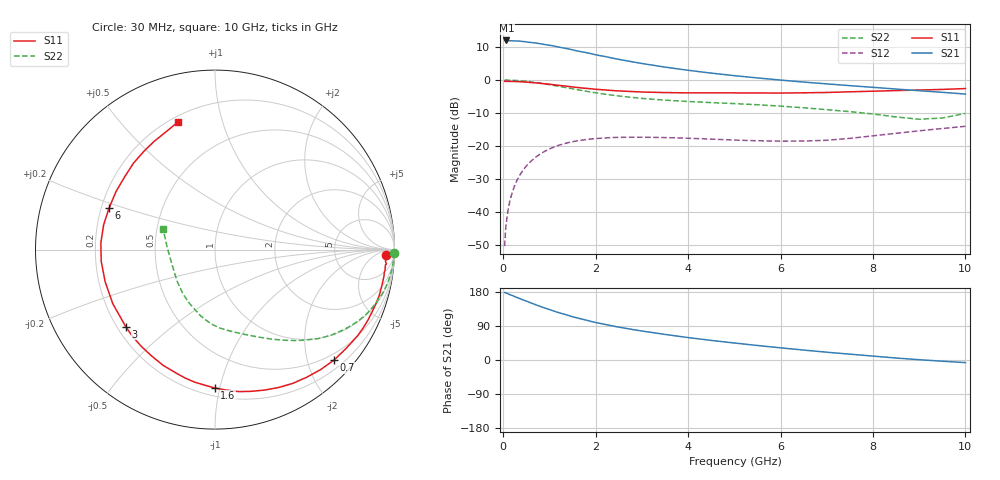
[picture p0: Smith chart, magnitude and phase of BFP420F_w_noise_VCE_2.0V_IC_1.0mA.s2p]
! Infineon Technologies  Discrete & RF Semiconductors
! BFP420F
! VCE =  2.0 V,  IC =  1.0 mA
! Common Emitter S-Parameters:  Sep 2011
# GHz  S  MA  R  50
!  f  S11  S21  S12  S22
! GHz  MAG  ANG  MAG  ANG  MAG  ANG  MAG  ANG
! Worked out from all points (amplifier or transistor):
!   54 points, 30 MHz to 10 GHz, reference 50 ohm
!   highest |S21| = 12.0 dB at 70 MHz (marker M1)
!   |S21| within 3 dB of that: start of sweep to 1.546 GHz
!   unconditionally stable (mu >= 1): 3.578 GHz to end of sweep
!   at 120 MHz: K = 0.00, MSG = 25.1 dB, |S12| = -38.3 dB
!   at 1.3 GHz: K = 0.22, MSG = 14.6 dB, |S12| = -19.4 dB
!   at 10 GHz: K = 1.83, MAG = -0.4 dB, |S12| = -14.1 dB
!   lowest NFmin = 0.80 dB at 450 MHz
!   S11 on the Smith chart (normalised r, x): 30 MHz: 30, -20; 700 MHz: 0.37, -2.50; 1.6 GHz: 0.25, -0.97; 3 GHz: 0.23, -0.35; 6 GHz: 0.23, +0.18; 10 GHz: 0.23, +0.73
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0.03  0.9551 -1.8  3.964 178.3  0.003 89.7  0.9975 -1.0
0.05  0.9583 -3.1  3.941 176.9  0.0052 90.1  0.9977 -1.7
0.07  0.9588 -4.8  3.985 176.6  0.007 87.2  0.997 -2.4
0.14  0.9529 -8.7  3.948 172.7  0.0142 85.7  0.994 -4.8
0.3  0.9459 -18.8  3.916 164.9  0.0302 79.8  0.9818 -10.3
0.7  0.905 -42.8  3.65 146.0  0.0672 65.8  0.9177 -23.0
0.9  0.8757 -54.3  3.455 137.2  0.0828 59.1  0.8732 -28.6
1.1  0.846 -65.3  3.279 128.9  0.0962 52.7  0.8263 -33.9
1.4  0.8022 -80.5  2.978 118.0  0.1116 44.6  0.7578 -40.9
1.6  0.7709 -90.1  2.763 111.0  0.1191 39.5  0.7141 -44.9
1.7  0.7572 -94.4  2.682 108.0  0.1221 37.4  0.6932 -46.8
2  0.7228 -106.9  2.412 99.0  0.129 31.3  0.6394 -52.2
2.4  0.689 -121.2  2.122 89.0  0.1341 24.7  0.584 -58.4
3  0.657 -139.2  1.782 76.5  0.1354 17.7  0.5259 -66.3
3.5  0.6443 -152.1  1.569 67.5  0.1337 13.8  0.4945 -71.9
4.5  0.6373 -174.2  1.273 51.7  0.1266 9.9  0.4539 -81.6
5.5  0.6357 167.5  1.075 38.3  0.1195 11.2  0.4211 -91.0
6  0.6339 158.7  0.998 32.1  0.1179 13.6  0.4009 -96.1
7  0.6466 141.0  0.873 20.6  0.1217 20.4  0.3545 -108.0
8.5  0.6912 119.6  0.729 5.2  0.1552 26.6  0.2747 -140.2
9.5  0.7198 110.3  0.65 -3.2  0.1835 25.2  0.2645 178.9
10  0.7412 106.0  0.612 -6.8  0.1981 23.4  0.3112 158.3
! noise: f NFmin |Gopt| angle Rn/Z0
0.45  0.8  0.67  17  0.46
0.9  0.92  0.64  37  0.43
1.9  1.38  0.51  82  0.32
2.4  1.57  0.51  97  0.3
3.5  2.11  0.52  131  0.19
